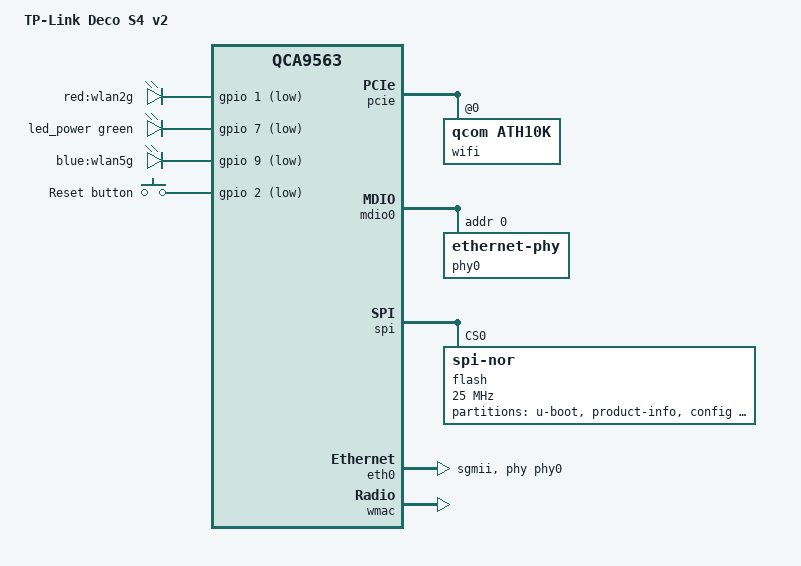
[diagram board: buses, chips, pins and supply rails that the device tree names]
// SPDX-License-Identifier: GPL-2.0-or-later OR MIT

#include <dt-bindings/gpio/gpio.h>
#include <dt-bindings/input/input.h>
#include <dt-bindings/leds/common.h>

#include "qca956x.dtsi"

/ {
	compatible = "tplink,deco-s4-v2", "qca,qca9563";
	model = "TP-Link Deco S4 v2";

	aliases {
		led-boot = &led_power;
		led-failsafe = &led_power;
		led-running = &led_power;
		led-upgrade = &led_power;
	};

	leds {
		compatible = "gpio-leds";

		wlan2g {
			label = "red:wlan2g";
			gpios = <&gpio 1 GPIO_ACTIVE_LOW>;
			linux,default-trigger = "phy1tpt";
		};

		led_power: power {
			function = LED_FUNCTION_POWER;
			color = <LED_COLOR_ID_GREEN>;
			gpios = <&gpio 7 GPIO_ACTIVE_LOW>;
			default-state = "on";
		};

		wlan5g {
			label = "blue:wlan5g";
			gpios = <&gpio 9 GPIO_ACTIVE_LOW>;
			linux,default-trigger = "phy0tpt";
		};
	};


	keys {
		compatible = "gpio-keys";

		reset {
			label = "Reset button";
			linux,code = <KEY_RESTART>;
			gpios = <&gpio 2 GPIO_ACTIVE_LOW>;
			debounce-interval = <60>;
		};
	};
};

&pcie {
	status = "okay";

	wifi@0,0 {
		compatible = "qcom,ath10k";
		reg = <0x0000 0 0 0 0>;
		nvmem-cells = <&precal_art_5000>;
		nvmem-cell-names = "pre-calibration";
	};
};

&mdio0 {
	status = "okay";

	phy0: ethernet-phy@0 {
		reg = <0>;
		phy-mode = "sgmii";
		qca,mib-poll-interval = <500>;

		qca,ar8327-initvals = <
			0x04 0x00080080 /* PORT0 PAD MODE CTRL */
			0x7c 0x0000007e /* PORT0_STATUS */
			>;
	};
};

&spi {
	status = "okay";
	num-cs = <1>;

	flash@0 {
		compatible = "jedec,spi-nor";
		reg = <0>;
		spi-max-frequency = <25000000>;

		partitions {
			compatible = "fixed-partitions";
			#address-cells = <1>;
			#size-cells = <1>;

			uboot: partition@0 {
				label = "u-boot";
				reg = <0x000000 0x080000>;
				read-only;
			};

			partition@80000 {
				label = "product-info";
				reg = <0x80000 0x05000>;
				read-only;
			};

			config: partition@85000 {
				label = "config";
				reg = <0x85000 0x16b000>;
				read-only;
			};

			art: partition@1f0000 {
				label = "art";
				reg = <0x1f0000 0x10000>;
				read-only;

				nvmem-layout {
					compatible = "fixed-layout";
					#address-cells = <1>;
					#size-cells = <1>;

					precal_art_5000: pre-calibration@5000 {
						reg = <0x5000 0x2f20>;
					};
				};
			};

			partition@200000 {
				compatible = "denx,uimage";
				label = "firmware";
				reg = <0x200000 0xe00000>;
			};
		};
	};
};

&eth0 {
	status = "okay";

	phy-mode = "sgmii";
	phy-handle = <&phy0>;
};

&wmac {
	status = "okay";

	qca,no-eeprom;
};
